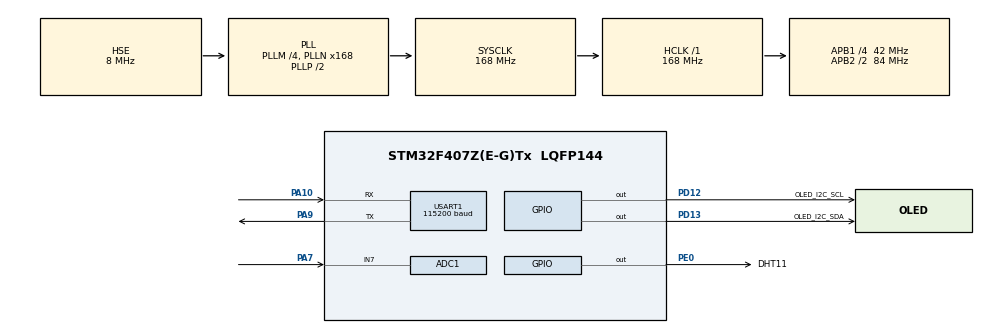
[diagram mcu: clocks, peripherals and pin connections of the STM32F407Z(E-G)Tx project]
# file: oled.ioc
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ADC1.Channel-0\#ChannelRegularConversion=ADC_CHANNEL_7
ADC1.NbrOfConversionFlag=1
ADC1.master=1
Mcu.Family=STM32F4
Mcu.Name=STM32F407Z(E-G)Tx
Mcu.Package=LQFP144
NVIC.PriorityGroup=NVIC_PRIORITYGROUP_4
NVIC.USART1_IRQn=true\:0\:0\:false\:false\:true\:true\:true
PA10.Mode=Asynchronous
PA10.Signal=USART1_RX
PA13.Mode=Serial_Wire
PA13.Signal=SYS_JTMS-SWDIO
PA14.Mode=Serial_Wire
PA14.Signal=SYS_JTCK-SWCLK
PA7.Signal=ADCx_IN7
PA9.Mode=Asynchronous
PA9.Signal=USART1_TX
PC14-OSC32_IN.Mode=LSE-External-Oscillator
PC14-OSC32_IN.Signal=RCC_OSC32_IN
PC15-OSC32_OUT.Mode=LSE-External-Oscillator
PC15-OSC32_OUT.Signal=RCC_OSC32_OUT
PD12.GPIO_Label=OLED_I2C_SCL
PD12.PinState=GPIO_PIN_SET
PD12.Signal=GPIO_Output
PD13.GPIO_Label=OLED_I2C_SDA
PD13.PinState=GPIO_PIN_SET
PD13.Signal=GPIO_Output
PE0.GPIO_Label=DHT11
PE0.GPIO_ModeDefaultOutputPP=GPIO_MODE_OUTPUT_OD
PE0.GPIO_PuPd=GPIO_NOPULL
PE0.Signal=GPIO_Output
PH0-OSC_IN.Mode=HSE-External-Oscillator
PH0-OSC_IN.Signal=RCC_OSC_IN
PH1-OSC_OUT.Mode=HSE-External-Oscillator
PH1-OSC_OUT.Signal=RCC_OSC_OUT
ProjectManager.HeapSize=0x200
ProjectManager.StackSize=0x400
ProjectManager.TargetToolchain=MDK-ARM V5.27
RCC.48MHZClocksFreq_Value=84000000
RCC.AHBFreq_Value=168000000
RCC.APB1CLKDivider=RCC_HCLK_DIV4
RCC.APB1Freq_Value=42000000
RCC.APB1TimFreq_Value=84000000
RCC.APB2CLKDivider=RCC_HCLK_DIV2
RCC.APB2Freq_Value=84000000
RCC.APB2TimFreq_Value=168000000
RCC.CortexFreq_Value=168000000
RCC.HCLKFreq_Value=168000000
RCC.HSE_VALUE=8000000
RCC.HSI_VALUE=16000000
RCC.PLLM=4
RCC.PLLN=168
RCC.PLLSourceVirtual=RCC_PLLSOURCE_HSE
RCC.SYSCLKFreq_VALUE=168000000
RCC.SYSCLKSource=RCC_SYSCLKSOURCE_PLLCLK
RCC.VCOOutputFreq_Value=336000000
SH.ADCx_IN7.0=ADC1_IN7,IN7
USART1.BaudRate=115200
USART1.VirtualMode=VM_ASYNC
board=custom

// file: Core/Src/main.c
/* USER CODE BEGIN Header */
/**
  ******************************************************************************
  * @file           : main.c
  * @brief          : Main program body
  ******************************************************************************
  * @attention
  *
  * <h2><center>&copy; Copyright (c) 2021 STMicroelectronics.
  * All rights reserved.</center></h2>
  *
  * This software component is licensed by ST under BSD 3-Clause license,
  * the "License"; You may not use this file except in compliance with the
  * License. You may obtain a copy of the License at:
  *                        opensource.org/licenses/BSD-3-Clause
  *
  ******************************************************************************
  */
/* USER CODE END Header */
#include "main.h"

/* USER CODE BEGIN Includes */
#include <string.h>
#include <stdio.h>

#include "hal_delay.h"
#include "Sofei2cMaster.h"
#include "oled.h"
#include "dht11.h"
/* USER CODE END Includes */

ADC_HandleTypeDef hadc1;

UART_HandleTypeDef huart1;

/* USER CODE BEGIN PV */

OLED_t my_oled;
DHT11_t my_dht11;
uint8_t usart_sendbuf[128];
float humi,temp;
uint16_t AD_Value;
/* USER CODE END PV */

void SystemClock_Config(void);
static void MX_GPIO_Init(void);
static void MX_USART1_UART_Init(void);
static void MX_ADC1_Init(void);
/* USER CODE BEGIN PFP */
uint8_t stm32_oled_cb(OLED_t *slf, OLED_CB_MSG msg, uint8_t data_byte);
//uint8_t stm32_i2c_cb(Sofei2cMaster *i2c, uint8_t msg);
uint8_t DHT11_STM32_cb(DHT11_t *dht, uint8_t msg);
/* USER CODE END PFP */

int main(void)
{

  /* MCU Configuration--------------------------------------------------------*/

  /* Reset of all peripherals, Initializes the Flash interface and the Systick. */
  HAL_Init();

  /* Configure the system clock */
  SystemClock_Config();

  /* USER CODE BEGIN SysInit */
	delay_init();
  /* USER CODE END SysInit */

  /* Initialize all configured peripherals */
  MX_GPIO_Init();
  MX_USART1_UART_Init();
  MX_ADC1_Init();
  /* USER CODE BEGIN 2 */
	delay_us(1000000);
	__HAL_UART_ENABLE_IT(&huart1, UART_IT_RXNE);

	New_OLED(&my_oled, stm32_oled_cb);
	DHT11_Init(&my_dht11, DHT11_STM32_cb);
	OLED_Init(&my_oled);
	OLED_Display_Flip_Disable(&my_oled);
	OLED_ShowString(&my_oled, 0, 0, "hello world!", 16);

	char *str = "RS232\r\n";
	uint16_t len = strlen(str);
	HAL_UART_Transmit_IT(&huart1,(uint8_t *)str, len);
  /* USER CODE END 2 */

  /* Infinite loop */
  /* USER CODE BEGIN WHILE */
  while (1)
  {
		DHT11_Read(&my_dht11);
		HAL_ADC_Start(&hadc1);
		HAL_ADC_PollForConversion(&hadc1, 10);//等待转换完成 第二个参数表示超时时间，单位ms.
		if(HAL_IS_BIT_SET(HAL_ADC_GetState(&hadc1), HAL_ADC_STATE_REG_EOC))
			AD_Value = HAL_ADC_GetValue(&hadc1);
		HAL_Delay(500);
		HAL_Delay(500);
		DHT11_Fget(&my_dht11, &humi, &temp);
		snprintf((char*)usart_sendbuf, sizeof(usart_sendbuf), "Temp:%.1f, Humi:%.1f, AD_Value:%d\r\n", temp, humi, AD_Value);
		HAL_UART_Transmit_IT(&huart1, usart_sendbuf, strlen((char*)usart_sendbuf));
    /* USER CODE END WHILE */

  }
}

void SystemClock_Config(void)
{
  RCC_OscInitTypeDef RCC_OscInitStruct = {0};
  RCC_ClkInitTypeDef RCC_ClkInitStruct = {0};

  /** Configure the main internal regulator output voltage
  */
  __HAL_RCC_PWR_CLK_ENABLE();
  __HAL_PWR_VOLTAGESCALING_CONFIG(PWR_REGULATOR_VOLTAGE_SCALE1);
  /** Initializes the RCC Oscillators according to the specified parameters
  * in the RCC_OscInitTypeDef structure.
  */
  RCC_OscInitStruct.OscillatorType = RCC_OSCILLATORTYPE_HSE;
  RCC_OscInitStruct.HSEState = RCC_HSE_ON;
  RCC_OscInitStruct.PLL.PLLState = RCC_PLL_ON;
  RCC_OscInitStruct.PLL.PLLSource = RCC_PLLSOURCE_HSE;
  RCC_OscInitStruct.PLL.PLLM = 4;
  RCC_OscInitStruct.PLL.PLLN = 168;
  RCC_OscInitStruct.PLL.PLLP = RCC_PLLP_DIV2;
  RCC_OscInitStruct.PLL.PLLQ = 4;
  if (HAL_RCC_OscConfig(&RCC_OscInitStruct) != HAL_OK)
  {
    Error_Handler();
  }
  /** Initializes the CPU, AHB and APB buses clocks
  */
  RCC_ClkInitStruct.ClockType = RCC_CLOCKTYPE_HCLK|RCC_CLOCKTYPE_SYSCLK
                              |RCC_CLOCKTYPE_PCLK1|RCC_CLOCKTYPE_PCLK2;
  RCC_ClkInitStruct.SYSCLKSource = RCC_SYSCLKSOURCE_PLLCLK;
  RCC_ClkInitStruct.AHBCLKDivider = RCC_SYSCLK_DIV1;
  RCC_ClkInitStruct.APB1CLKDivider = RCC_HCLK_DIV4;
  RCC_ClkInitStruct.APB2CLKDivider = RCC_HCLK_DIV2;

  if (HAL_RCC_ClockConfig(&RCC_ClkInitStruct, FLASH_LATENCY_5) != HAL_OK)
  {
    Error_Handler();
  }
}

static void MX_ADC1_Init(void)
{

  ADC_ChannelConfTypeDef sConfig = {0};

  /** Configure the global features of the ADC (Clock, Resolution, Data Alignment and number of conversion)
  */
  hadc1.Instance = ADC1;
  hadc1.Init.ClockPrescaler = ADC_CLOCK_SYNC_PCLK_DIV4;
  hadc1.Init.Resolution = ADC_RESOLUTION_12B;
  hadc1.Init.ScanConvMode = DISABLE;
  hadc1.Init.ContinuousConvMode = DISABLE;
  hadc1.Init.DiscontinuousConvMode = DISABLE;
  hadc1.Init.ExternalTrigConvEdge = ADC_EXTERNALTRIGCONVEDGE_NONE;
  hadc1.Init.ExternalTrigConv = ADC_SOFTWARE_START;
  hadc1.Init.DataAlign = ADC_DATAALIGN_RIGHT;
  hadc1.Init.NbrOfConversion = 1;
  hadc1.Init.DMAContinuousRequests = DISABLE;
  hadc1.Init.EOCSelection = ADC_EOC_SINGLE_CONV;
  if (HAL_ADC_Init(&hadc1) != HAL_OK)
  {
    Error_Handler();
  }
  /** Configure for the selected ADC regular channel its corresponding rank in the sequencer and its sample time.
  */
  sConfig.Channel = ADC_CHANNEL_10;
  sConfig.Rank = 1;
  sConfig.SamplingTime = ADC_SAMPLETIME_3CYCLES;
  if (HAL_ADC_ConfigChannel(&hadc1, &sConfig) != HAL_OK)
  {
    Error_Handler();
  }

}

static void MX_USART1_UART_Init(void)
{

  huart1.Instance = USART1;
  huart1.Init.BaudRate = 115200;
  huart1.Init.WordLength = UART_WORDLENGTH_8B;
  huart1.Init.StopBits = UART_STOPBITS_1;
  huart1.Init.Parity = UART_PARITY_NONE;
  huart1.Init.Mode = UART_MODE_TX_RX;
  huart1.Init.HwFlowCtl = UART_HWCONTROL_NONE;
  huart1.Init.OverSampling = UART_OVERSAMPLING_16;
  if (HAL_UART_Init(&huart1) != HAL_OK)
  {
    Error_Handler();
  }

}

static void MX_GPIO_Init(void)
{
  GPIO_InitTypeDef GPIO_InitStruct = {0};

  /* GPIO Ports Clock Enable */
  __HAL_RCC_GPIOC_CLK_ENABLE();
  __HAL_RCC_GPIOH_CLK_ENABLE();
  __HAL_RCC_GPIOA_CLK_ENABLE();
  __HAL_RCC_GPIOB_CLK_ENABLE();
  __HAL_RCC_GPIOE_CLK_ENABLE();

  /*Configure GPIO pin Output Level */
  HAL_GPIO_WritePin(GPIOB, OLED_I2C_SCL_Pin|OLED_I2C_SDA_Pin, GPIO_PIN_SET);

  /*Configure GPIO pin Output Level */
  HAL_GPIO_WritePin(DHT11_GPIO_Port, DHT11_Pin, GPIO_PIN_RESET);

  /*Configure GPIO pins : OLED_I2C_SCL_Pin OLED_I2C_SDA_Pin */
  GPIO_InitStruct.Pin = OLED_I2C_SCL_Pin|OLED_I2C_SDA_Pin;
  GPIO_InitStruct.Mode = GPIO_MODE_OUTPUT_PP;
  GPIO_InitStruct.Pull = GPIO_NOPULL;
  GPIO_InitStruct.Speed = GPIO_SPEED_FREQ_LOW;
  HAL_GPIO_Init(GPIOB, &GPIO_InitStruct);

  /*Configure GPIO pin : DHT11_Pin */
  GPIO_InitStruct.Pin = DHT11_Pin;
  GPIO_InitStruct.Mode = GPIO_MODE_OUTPUT_OD;
  GPIO_InitStruct.Pull = GPIO_NOPULL;
  GPIO_InitStruct.Speed = GPIO_SPEED_FREQ_LOW;
  HAL_GPIO_Init(DHT11_GPIO_Port, &GPIO_InitStruct);

}

/* USER CODE BEGIN 4 */
//i2c底层操作回调
uint8_t stm32_i2c_cb(Sofei2cMaster *i2c, uint8_t msg)
{
	switch(msg)
	{
		case SI2C_MSG_INIT:					break;	//hal库已初始化IO
		case SI2C_MSG_SET_SDA:			OLED_I2C_SDA_GPIO_Port->ODR |= OLED_I2C_SDA_Pin;break;
		case SI2C_MSG_RESET_SDA:		OLED_I2C_SDA_GPIO_Port->ODR &= ~OLED_I2C_SDA_Pin;break;
		case SI2C_MSG_READ_SDA:			return OLED_I2C_SDA_GPIO_Port->IDR & OLED_I2C_SDA_Pin;
		case SI2C_MSG_OUTPUT_SDA:		break;
		case SI2C_MSG_INPUT_SDA:		break;

		case SI2C_MSG_OUTPUT_SCL:		break;
		case SI2C_MSG_SET_SCL:			OLED_I2C_SCL_GPIO_Port->ODR |= OLED_I2C_SCL_Pin;break;
		case SI2C_MSG_RESET_SCL:		OLED_I2C_SCL_GPIO_Port->ODR &= ~OLED_I2C_SCL_Pin;break;
//		case SI2C_MSG_BUF_DELAY:  	delay_ns(1300);break;	//停止信号与开始信号间的�?�线释放时间(SSD1306、TMP75�?1.3us)
//		case SI2C_MSG_SUSTA_DELAY:	delay_ns(600);break;	//重复�?始信号的建立时间(SCL=1的最短时间，SSD1306、TMP75�?0.6us)
//		case SI2C_MSG_HDSTA_DELAY:	delay_ns(600);break;	//�?始信号的保持时间(SDA拉低的最短时间，在这之后产生第一个时钟信号，SSD1306、TMP75�?0.6us)
//		case SI2C_MSG_SUSTO_DELAY:	delay_ns(600);break;	//停止信号的建立时间（SDA拉高前SCL=1，SDA=0的保持时间，SSD1306、TMP75�?0.6us)
//		case SI2C_MSG_HDDAT_DELAY:	break;								//数据保持时间(SCL=0后数据需要保持不变的时间，TMP75�?4ns,很短,IO频率超过250M才需�??)
//		case SI2C_MSG_SUDAT_DELAY:	delay_ns(100);break;	//数据建立时间(SCL=1前SDA�?要保持状态的时间，SSD1306、TMP75�?100ns，在读写时序中被SCL延时覆盖，在ack中需使用，若频率低于10M则不�?�??)
//		case SI2C_MSG_SCLL_DELAY:		delay_us(2);break;		//SCL低电平时�?(读写时序中的主要延时，TMP75�?1.3us min)
//		case SI2C_MSG_SCLH_DELAY:		delay_us(2);break;		//SCL高电平时�?(读写时序中的主要延时, TMP75�?0.6us min)
		default: break;//这里都不�?要使用额外延时，2层回�? 即使168M的STM32F4，调用回调的时间也已经够长了，当然不注释掉要使用延时也可�?
		//对于有些外设，读的时候需要�?�当慢一点，要不然外设反应不过来
	}
	return 0;
}
uint8_t stm32_oled_cb(OLED_t *slf, OLED_CB_MSG msg, uint8_t data_byte)
{
	static Sofei2cMaster oled_i2c;
	switch (msg)
	{
		case OLED_MSG_I2C_INIT:
		{
			New_Sofei2cMaster(&oled_i2c, stm32_i2c_cb);
			Sofei2cMaster_init(&oled_i2c);
			break;
		}
		case OLED_MSG_I2C_START:
		{
			Sofei2cMaster_start(&oled_i2c);
			break;
		}
		case OLED_MSG_I2C_STOP:
		{
			Sofei2cMaster_stop(&oled_i2c);
			break;
		}
		case OLED_MSG_I2C_WAIT_ACK:
		{
			Sofei2cMaster_wait_ack(&oled_i2c);
			break;
		}
		case OLED_MSG_I2C_WRITE_BYTE:
		{
			Sofei2cMaster_send_byte(&oled_i2c, data_byte);
			break;
		}

		default: break;
	}
	return 0;
}
uint8_t DHT11_STM32_cb(DHT11_t *dht, uint8_t msg)
{
	//这里未使用DHT11对象指针，因为我这里只需要去驱动1个DHT11
	switch(msg)
	{
	case DHT11_MSG_2S_DELAY://用于上电初始化稳定DHT11
		delay_us(2000000);
	break;
	case DHT11_MSG_18MS_DELAY:
			delay_us(18000);
	break;
	case DHT11_MSG_1MS_DELAY:
		delay_us(1000);
	break;

	case DHT11_MSG_30US_DELAY:
		delay_us(30);
	break;
	case DHT11_MSG_READ_SDA:
		DHT11_GPIO_Port->ODR |= DHT11_Pin;
		return HAL_GPIO_ReadPin(DHT11_GPIO_Port,DHT11_Pin);
	case DHT11_MSG_SDA_HIGH:
				DHT11_GPIO_Port->ODR |= DHT11_Pin;
	break;
	case DHT11_MSG_SDA_LOW:
				DHT11_GPIO_Port->ODR &= ~DHT11_Pin;
	break;
	default:return 0xFF;
	}
	return 0;
}
/* USER CODE END 4 */

void Error_Handler(void)
{
  __disable_irq();
  while (1)
  {
  }
}

/************************ (C) COPYRIGHT STMicroelectronics *****END OF FILE****/
